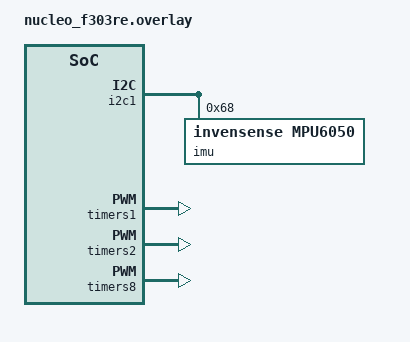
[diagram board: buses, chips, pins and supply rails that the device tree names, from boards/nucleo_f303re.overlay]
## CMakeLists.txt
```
cmake_minimum_required(VERSION 3.13.1)
find_package(Zephyr REQUIRED HINTS $ENV{ZEPHYR_BASE})
project(app)

add_subdirectory(src/)
add_subdirectory(drivers/input)

include_directories(include/)
```

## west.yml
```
manifest:
  self:
    path: app
  defaults:
    remote: zephyrproject-rtos
  remotes:
    - name: zephyrproject-rtos
      url-base: https://github.com/zephyrproject-rtos

  projects:
    - name: zephyr
      revision: e745439c40734009986bb31b3789a536174bb50c
      path: zephyr
      west-commands: scripts/west-commands.yml
    - name: cmsis
      revision: 74981bf893e8b10931464b9945e2143d99a3f0a3
      path: modules/hal/cmsis
      groups:
        - hal
    - name: hal_stm32
      path: modules/hal/stm32
      revision: 642e199c59828137dc6b1c7044a289d4269886d1
      groups:
        - hal
```

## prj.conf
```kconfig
# logging
CONFIG_LOG=y
CONFIG_SENSOR_LOG_LEVEL_INF=y

# assertions
CONFIG_ASSERT=y

# CMSIS_DSP
CONFIG_NEWLIB_LIBC=y
CONFIG_NEWLIB_LIBC_NANO=n
CONFIG_CMSIS_DSP=y
CONFIG_CMSIS_DSP_CONTROLLER=y
CONFIG_CMSIS_DSP_QUATERNIONMATH=y

# Shell
CONFIG_SHELL=y
```

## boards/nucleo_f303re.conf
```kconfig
CONFIG_SENSOR=y
CONFIG_MPU6050=y
```

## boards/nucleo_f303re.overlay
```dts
/ {
    pwm_inputs: pwm-inputs {
        compatible = "pwm-inputs";
        channel0: channel0 {
            pwms = < &pwm0 1 0 0 >;
        };
        channel1: channel1 {
            pwms = < &pwm0 2 0 0 >;
        };
        channel2: channel2 {
            pwms = < &pwm1 1 0 0 >;
        };
        channel3: channel3 {
            pwms = < &pwm1 2 0 0 >;
        };
        channel4: channel4 {
            pwms = < &pwm2 1 0 0 >;
        };
        channel5: channel5 {
            pwms = < &pwm2 2 0 0 >;
        };
    };
};

&i2c1 {
    imu: mpu6050@68 {
        status = "okay";
        compatible = "invensense,mpu6050";
        reg = < 0x68 >;
    };
};

&timers1 {
    status = "okay";
    st,prescaler = <100>;

    pwm0: pwm {
        status = "okay";
        pinctrl-0 = < &tim1_ch1_pc0 &tim1_ch2_pc1 >;
	    pinctrl-names = "default";
    };
};

&timers2 {
    status = "okay";
    st,prescaler = <100>;

    pwm1: pwm {
        status = "okay";
        pinctrl-0 = < &tim2_ch1_pa0 &tim2_ch2_pa1 >;
        pinctrl-names = "default";
    };
};

&timers8 {
    status = "okay";
    st,prescaler = <100>;

    pwm2: pwm {
        status = "okay";
        pinctrl-0 = < &tim8_ch1_pc6 &tim8_ch2_pc7 >;
        pinctrl-names = "default";
    };
};

/*
&timers3 {
    status = "okay";
    st,prescaler = <100>;

    pwm3: pwm {
        status = "okay";
        pinctrl-0 = < &tim3_ch1_pb4 >;
        pinctrl-names = "default";
    };
};

&timers4 {
    status = "okay";
    st,prescaler = <100>;

    pwm4: pwm {
        status = "okay";
        pinctrl-0 = < &tim4_ch1_pa11 &tim4_ch2_pa12 >;
        pinctrl-names = "default";
    };
};
*/

/* This one will not work together with timers1 due to shared IRQ */
&timers15 {
    status = "disabled";

    pwm5: pwm {
        status = "disabled";
    };
};
```

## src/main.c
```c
#include <zephyr/kernel.h>

void main(void)
{
    printk("Hello world!\n");
}
```

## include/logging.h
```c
#ifndef __LOG_H__
#define __LOG_H__

#ifdef TEST

#define APP_LOG_MODULE_REGISTER(...)
#define APP_LOG_ERR(...)
#define APP_LOG_WRN(...)
#define APP_LOG_INF(...)
#define APP_LOG_DBG(...)
#define APP_LOG_LEVEL_DBG 0
#define APP_LOG_LEVEL_INF 0
#define APP_LOG_LEVEL_WRN 0
#define APP_LOG_LEVEL_ERR 0

#else

#include <zephyr/logging/log.h>

#define APP_LOG_MODULE_REGISTER(...) LOG_MODULE_REGISTER(__VA_ARGS__)
#define APP_LOG_ERR(...) LOG_ERR(__VA_ARGS__)
#define APP_LOG_WRN(...) LOG_WRN(__VA_ARGS__)
#define APP_LOG_INF(...) LOG_INF(__VA_ARGS__)
#define APP_LOG_DBG(...) LOG_DBG(__VA_ARGS__)
#define APP_LOG_LEVEL_DBG LOG_LEVEL_DBG
#define APP_LOG_LEVEL_INF LOG_LEVEL_INF
#define APP_LOG_LEVEL_WRN LOG_LEVEL_WRN
#define APP_LOG_LEVEL_ERR LOG_LEVEL_ERR

#endif  // TEST

#endif  // __LOG_H__
```

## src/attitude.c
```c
#include <math.h> /** TODO: Consider using cmsis fastmath */
#include "attitude.h"
#include "quaternion.h"

/** See: https://folk.ntnu.no/skoge/prost/proceedings/ecc-2013/data/papers/0927.pdf
  * Access 24.04.2023
  *
  * For more useful info about converting quaternion to euler see:
  * http://www.euclideanspace.com/maths/geometry/rotations/conversions/quaternionToEuler/index.htm
  *
  * TODO: Handle singularities.
  * TODO: cmsis fastmath could probably be used insted of math.h
  */
void attitude_quaternion_to_euler(float q[4], float ang[3]) {
    float tmp_1, tmp_2;
    float sqw = q[0] * q[0];
    float sqx = q[1] * q[1];
    float sqy = q[2] * q[2];
    float sqz = q[3] * q[3];
    // roll
    tmp_1 = 2.0f * (q[0] * q[1] + q[2] * q[3]);
    tmp_2 = sqw - sqx - sqy + sqz;
    ang[1] = atan2f(tmp_1, tmp_2);
    // pitch
    tmp_1 = 2.0f * (q[0] * q[2] - q[3] * q[1]);
    ang[0] = asin(tmp_1);
    // yaw
    tmp_1 = 2.0f * (q[0] * q[3] + q[1] * q[2]);
    tmp_2 = sqw + sqx - sqy - sqz;
    ang[2] = atan2f(tmp_1, tmp_2);
};

static void integrate_quaternion(float q_att[4], float q_dt[4], int dt) {
    for (int i = 0; i < 4; i++) {
        q_att[i] += q_dt[i] * (dt / 1000.0f);
    }
}

void attitude_get_quaternion(float q_att[4], float ang_v[3], int dt) {
    float q_dt[4] = {1.0f, 0.0f, 0.0f, 0.0f};
    float q_v[4] = {0.0f, ang_v[0], ang_v[1], ang_v[2]};

    quaternion_product(q_att, q_v, q_dt);
    for (int i = 0; i < 4; i++) {
        q_dt[i] *= 0.5f;
    }
    /**
     * TODO: Don't run operations in-place?
     */
    quaternion_normalize(q_dt, q_dt);
    integrate_quaternion(q_att, q_dt, dt);
    quaternion_normalize(q_att, q_att);
}
```

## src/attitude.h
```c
#ifndef __SRC_ATTITUDE_H__
#define __SRC_ATTITUDE_H__

void attitude_quaternion_to_euler(float q[4], float ang[3]);
void attitude_get_quaternion(float q_att[4], float ang_v[3], int dt);
void attitude_get_euler(float ang[3], float ang_v[3], int dt);

#endif  // __SRC_ATTITUDE_H__
```

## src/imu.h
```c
#ifndef __SRC_IMU_H__
#define __SRC_IMU_H__

struct imu_data {
    float ang_v[3];
    float accel[3];
};

int imu_get_data(struct imu_data *data);

#endif  // __SRC_IMU_H__
```

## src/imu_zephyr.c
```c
#include <zephyr/sys/__assert.h>
#include <zephyr/device.h>
#include <zephyr/drivers/sensor.h>
#include <zephyr/logging/log.h>

#include "imu.h"

LOG_MODULE_REGISTER(imu_sensor, CONFIG_SENSOR_LOG_LEVEL);

BUILD_ASSERT(DT_NODE_EXISTS(DT_NODELABEL(imu)), "No IMU device found under 'imu' alias!");
#define DT_IMU DT_NODELABEL(imu)

static const struct device *imu = DEVICE_DT_GET(DT_IMU);

static void sensor_values_to_imu_data(struct sensor_value *accel_data,
        struct sensor_value *gyro_data, struct imu_data *imu_data) {
    for (int i = 0; i < 3; i++) {
        imu_data->accel[i] = (float)sensor_value_to_double(&accel_data[i]);
        imu_data->ang_v[i] = (float)sensor_value_to_double(&gyro_data[i]);
    }
}

int imu_get_data(struct imu_data *imu_data) {
    __ASSERT(imu_data, "imu_data can't be NULL");
    struct sensor_value accel_data[3];
    struct sensor_value gyro_data[3];

    if (!device_is_ready(imu)) {
        LOG_ERR("IMU device not ready");
        return -ENODEV;
    }
    int err = sensor_sample_fetch(imu);
    if (err < 0) {
        LOG_ERR("Failed to fetch IMU sample");
        return -EIO;
    }
    err = sensor_channel_get(imu, SENSOR_CHAN_ACCEL_XYZ, accel_data);
    if (err < 0) {
        LOG_ERR("Failed to read accelerometer data");
        return -EIO;
    }
    err = sensor_channel_get(imu, SENSOR_CHAN_GYRO_XYZ, gyro_data);
    if (err < 0) {
        LOG_ERR("Failed to read gyroscope data");
        return -EIO;
    }
    sensor_values_to_imu_data(accel_data, gyro_data, imu_data);
    return 0;
}
```

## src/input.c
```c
#include <stdbool.h>
#include <stdlib.h>
#include <tgmath.h>
#include <string.h>
#include <app/logging.h>
#include <app/input.h>
#include "input_pwm.h"

APP_LOG_MODULE_REGISTER(input, APP_LOG_LEVEL_DBG);

struct input_channel_data {
    struct input_channel_config config;
    struct input_channel_pwm_calib calib;
    bool configured;
    bool calibrated_min;
    bool calibrated_max;
};

static struct input_channel_data channels[CHANNEL_FUNC_LAST];

static const char *input_channel_names[] = {
    [CHANNEL_PITCH] = "pitch",
    [CHANNEL_ROLL] = "roll",
    [CHANNEL_YAW] = "yaw",
    [CHANNEL_THROTTLE] = "throttle",
};

enum input_channel input_channel_from_string(char *str) {
    for (int i = 0; i < CHANNEL_FUNC_LAST; i++) {
        if (strcmp(str, input_channel_names[i]) == 0) {
            return (enum input_channel)i;
        }
    }
    return CHANNEL_FUNC_LAST;
}

static bool is_channel_valid(enum input_channel ch)  {
    if (ch >= CHANNEL_FUNC_LAST) {
        return false;
    }
    return true;
}

static bool is_channel_configured(enum input_channel ch) {
    return channels[ch].configured;
}

static bool is_channel_calibrated(enum input_channel ch) {
    return channels[ch].calibrated_min && channels[ch].calibrated_max;
}

bool input_configure_channel(enum input_channel ch, struct input_channel_config *cfg) {
    if (!is_channel_valid(ch)) {
        APP_LOG_ERR("Invalid channel");
        return false;
    }
    channels[ch].config = *cfg;
    channels[ch].configured = true;
    return true;
}

bool input_calibrate_channel_max(enum input_channel ch) {
    if (!is_channel_configured(ch) || !is_channel_valid(ch)) {
        APP_LOG_ERR("Invalid channel or channel not configured");
        return false;
    }
    uint64_t data;
    int ret = input_pwm_get_channel_duty_usec(&data, channels[ch].config.channel);
    if (ret < 0) {
        return false;
    }
    channels[ch].calib.max_dc = (uint32_t)data;
    APP_LOG_DBG("calibration max duty cycle %d", channels[ch].calib.max_dc);
    channels[ch].calibrated_max = true;
    return true;
}

bool input_calibrate_channel_min(enum input_channel ch) {
    if (!is_channel_configured(ch) || !is_channel_valid(ch)) {
        APP_LOG_ERR("Invalid channel or channel not configured");
        return false;
    }
    uint64_t data;
    int ret = input_pwm_get_channel_duty_usec(&data, channels[ch].config.channel);
    if (ret < 0) {
        return false;
    }
    channels[ch].calib.min_dc = (uint32_t)data;
    APP_LOG_DBG("calibration max duty cycle %d", channels[ch].calib.min_dc);
    channels[ch].calibrated_min = true;
    return true;
}

static float input_convert(enum input_channel ch, uint32_t raw_dc) {
    // handle channels calibrated in reverse
    int min_dc = (int)channels[ch].calib.min_dc;
    int max_dc = (int)channels[ch].calib.max_dc;
    float min_value = channels[ch].config.min_val;
    float max_value = channels[ch].config.max_val;
    // we have two points (max_dc, max_value) and (min_dc, min_value), use linear equation.
    float slope = (max_value - min_value) / (float)(max_dc - min_dc);
    // max_val = slope * max_dc + offset => b = max_val - (slope * max_dc)
    float offset = max_value - (slope * max_dc);
    float value = slope * raw_dc + offset;
    // make sure value stays in bounds
    if (max_value >= min_value) {
        value = value > max_value ? max_value : value;
        value = value < min_value ? min_value : value;
    } else {  // max_value < min_value ('reversed' channel)
        value = value > min_value ? min_value : value;
        value = value < max_value ? max_value : value;
    }
    return value;
}

float input_get_channel_value(enum input_channel ch) {
    if (!is_channel_valid(ch) || !is_channel_configured(ch) || !is_channel_calibrated(ch)) {
        APP_LOG_ERR("Invalid channel or channel not calibrated");
        return 0;
    }
    uint64_t data;
    int ret = input_pwm_get_channel_duty_usec(&data, channels[ch].config.channel);
    if (ret < 0) {
        return 0;
    }
    return input_convert(ch, (uint32_t)data);
}
```

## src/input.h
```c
#ifndef __INPUT_H__
#define __INPUT_H__

#include <stdint.h>
#include <stdbool.h>

enum input_channel {
    CHANNEL_PITCH,
    CHANNEL_ROLL,
    CHANNEL_YAW,
    CHANNEL_THROTTLE,
    CHANNEL_FUNC_LAST
};

struct input_channel_pwm_calib {
    uint32_t max_dc;
    uint32_t min_dc;
};

struct input_channel_config {
    uint8_t channel;
    float min_val;
    float max_val;
};

enum input_channel input_channel_from_string(char *str);
bool input_configure_channel(enum input_channel ch, struct input_channel_config *cfg);
bool input_calibrate_channel_max(enum input_channel ch);
bool input_calibrate_channel_min(enum input_channel ch);
float input_get_channel_value(enum input_channel ch);

#endif  // __INPUT_H__
```

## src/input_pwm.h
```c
#ifndef __INPUT_PWM_H__
#define __INPUT_PWM_H__

#include <stdint.h>

int input_pwm_get_channel_duty_usec(uint64_t *data, uint8_t channel);
int input_pwm_get_num_channels(void);

#endif  // __INPUT_PWM_H__
```

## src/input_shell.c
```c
#include <stdlib.h>
#include <zephyr/shell/shell.h>
#include <app/input.h>

static int cmd_input_calibrate_max(
    const struct shell *sh, size_t argc, char **argv)
{
    char *channel_string = argv[1];
    enum input_channel channel = input_channel_from_string(channel_string);
    if (channel >= CHANNEL_FUNC_LAST) {
        shell_error(sh, "Invalid channel '%s'", channel_string);
        return -1;
    }
    if (!input_calibrate_channel_max(channel)) {
        shell_error(sh, "Failed to calibrate max value of channel '%s'", channel_string);
        return -1;
    }
    shell_info(sh, "Calibrated max value of '%s' channel", channel_string);
    return 0;
}

static int cmd_input_calibrate_min(
    const struct shell *sh, size_t argc, char **argv)
{
    char *channel_string = argv[1];
    enum input_channel channel = input_channel_from_string(channel_string);
    if (channel >= CHANNEL_FUNC_LAST) {
        shell_error(sh, "Invalid channel '%s'", channel_string);
        return -1;
    }
    if (!input_calibrate_channel_min(channel)) {
        shell_error(sh, "Failed to calibrate min value of channel '%s'", channel_string);
        return -1;
    }
    shell_info(sh, "Calibrated min value of '%s' channel", channel_string);
    return 0;
}

static int cmd_input_configure(
    const struct shell *sh, size_t argc, char **argv)
{
    char *channel_string = argv[1];
    enum input_channel channel = input_channel_from_string(channel_string);
    if (channel >= CHANNEL_FUNC_LAST) {
        shell_error(sh, "Invalid channel '%s'", channel_string);
        return -1;
    }
    struct input_channel_config cfg = {
        .channel = atoi(argv[2]),
        .min_val = atof(argv[3]),
        .max_val = atof(argv[4]),
    };
    if (!input_configure_channel(channel, &cfg)) {
        shell_error(sh, "Failed to configure channel '%s'", channel_string);
        return -1;
    }
    shell_info(sh, "Configured channel '%s': min_val=%f, max_val=%f, pwm_channel=%d",
        channel_string, cfg.min_val, cfg.max_val, cfg.channel);
    return 0;
}

static int cmd_input_read(const struct shell *sh, size_t argc, char **argv)
{
    char *channel_string = argv[1];
    enum input_channel channel = input_channel_from_string(channel_string);
    if (channel >= CHANNEL_FUNC_LAST) {
        shell_error(sh, "Invalid channel '%s'", channel_string);
        return -1;
    }
    float ch_val = input_get_channel_value(channel);
    shell_print(sh, "channel '%s' value=%.3f", channel_string, ch_val);
    return 0;
}

SHELL_STATIC_SUBCMD_SET_CREATE(calibrate_sub_cmds,
    SHELL_CMD_ARG(min, NULL, "calibrate min <channel>", cmd_input_calibrate_min, 2, 0),
    SHELL_CMD_ARG(max, NULL, "calibrate max <channel>", cmd_input_calibrate_max, 2, 0),
    SHELL_SUBCMD_SET_END
);

SHELL_STATIC_SUBCMD_SET_CREATE(input_sub_cmds,
    SHELL_CMD(calibrate, &calibrate_sub_cmds, "calibrate <min|max> <channel>", NULL),
    SHELL_CMD_ARG(configure, NULL, "configure <channel> <pwm_ch> <value_min> <value_max>", cmd_input_configure, 5, 0),
    SHELL_CMD_ARG(read, NULL, "read <channel>", cmd_input_read, 2, 0),
    SHELL_SUBCMD_SET_END
);

SHELL_CMD_REGISTER(input, &input_sub_cmds, "input module commands", NULL);
```

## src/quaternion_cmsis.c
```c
#include <arm_math.h>
#include <app/quaternion.h>

void quaternion_product(float *qa, float *qb, float *out) {
    return arm_quaternion_product_single_f32(qa, qb, out);
}

void quaternion_normalize(float *qa, float *out) {
    return arm_quaternion_normalize_f32(qa, out, 1);
}
```
